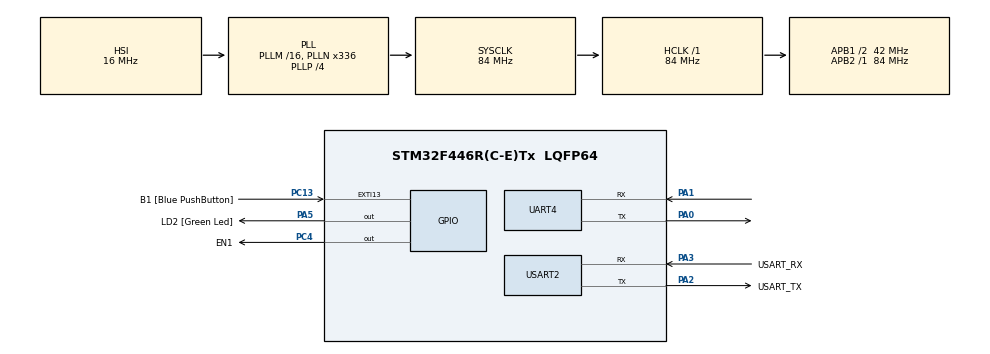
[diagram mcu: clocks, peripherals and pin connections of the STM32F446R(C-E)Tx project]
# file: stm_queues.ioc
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FREERTOS.Queues01=messageQueue,10,int,0,Dynamic,NULL,NULL
FREERTOS.Tasks01=Task2,24,128,StartDefaultTask,Default,NULL,Dynamic,NULL,NULL;Task1,8,128,StartTask02,Default,NULL,Dynamic,NULL,NULL;RxTask,32,512,StartRxTask,Default,NULL,Dynamic,NULL,NULL
FREERTOS.configUSE_NEWLIB_REENTRANT=1
Mcu.Family=STM32F4
Mcu.Name=STM32F446R(C-E)Tx
Mcu.Package=LQFP64
NVIC.PriorityGroup=NVIC_PRIORITYGROUP_4
NVIC.TIM6_DAC_IRQn=true\:15\:0\:false\:false\:true\:false\:false\:true\:true
NVIC.TimeBase=TIM6_DAC_IRQn
NVIC.TimeBaseIP=TIM6
PA0-WKUP.Mode=Asynchronous
PA0-WKUP.Signal=UART4_TX
PA1.Mode=Asynchronous
PA1.Signal=UART4_RX
PA13.GPIO_Label=TMS
PA13.Mode=Serial_Wire
PA13.Signal=SYS_JTMS-SWDIO
PA14.GPIO_Label=TCK
PA14.Mode=Serial_Wire
PA14.Signal=SYS_JTCK-SWCLK
PA2.GPIO_Label=USART_TX
PA2.Mode=Asynchronous
PA2.Signal=USART2_TX
PA3.GPIO_Label=USART_RX
PA3.Mode=Asynchronous
PA3.Signal=USART2_RX
PA5.GPIO_Label=LD2 [Green Led]
PA5.Signal=GPIO_Output
PB3.GPIO_Label=SWO
PB3.Signal=SYS_JTDO-SWO
PC13.GPIO_Label=B1 [Blue PushButton]
PC13.GPIO_ModeDefaultEXTI=GPIO_MODE_IT_FALLING
PC13.Signal=GPXTI13
PC14-OSC32_IN.Mode=LSE-External-Oscillator
PC14-OSC32_IN.Signal=RCC_OSC32_IN
PC15-OSC32_OUT.Mode=LSE-External-Oscillator
PC15-OSC32_OUT.Signal=RCC_OSC32_OUT
PC4.GPIO_Label=EN1
PC4.Signal=GPIO_Output
PH0-OSC_IN.Mode=HSE-External-Oscillator
PH0-OSC_IN.Signal=RCC_OSC_IN
PH1-OSC_OUT.Mode=HSE-External-Oscillator
PH1-OSC_OUT.Signal=RCC_OSC_OUT
ProjectManager.HeapSize=0x200
ProjectManager.StackSize=0x400
ProjectManager.TargetToolchain=STM32CubeIDE
RCC.48MHZClocksFreq_Value=84000000
RCC.AHBFreq_Value=84000000
RCC.APB1CLKDivider=RCC_HCLK_DIV2
RCC.APB1Freq_Value=42000000
RCC.APB1TimFreq_Value=84000000
RCC.APB2Freq_Value=84000000
RCC.APB2TimFreq_Value=84000000
RCC.CortexFreq_Value=84000000
RCC.FLatency-AdvancedSettings=FLASH_LATENCY_2
RCC.HCLKFreq_Value=84000000
RCC.HSE_VALUE=8000000
RCC.HSI_VALUE=16000000
RCC.PLLN=336
RCC.PLLP=RCC_PLLP_DIV4
RCC.SYSCLKFreq_VALUE=84000000
RCC.SYSCLKSource=RCC_SYSCLKSOURCE_PLLCLK
RCC.USBFreq_Value=168000000
RCC.VCOOutputFreq_Value=336000000
UART4.VirtualMode=Asynchronous
USART2.VirtualMode=VM_ASYNC
VP_FREERTOS_VS_CMSIS_V2.Mode=CMSIS_V2
VP_SYS_VS_tim6.Mode=TIM6
board=NUCLEO-F446RE

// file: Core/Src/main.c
/* USER CODE BEGIN Header */
/**
  ******************************************************************************
  * @file           : main.c
  * @brief          : Main program body
  ******************************************************************************
  * @attention
  *
  * Copyright (c) 2026 STMicroelectronics.
  * All rights reserved.
  *
  * This software is licensed under terms that can be found in the LICENSE file
  * in the root directory of this software component.
  * If no LICENSE file comes with this software, it is provided AS-IS.
  *
  ******************************************************************************
  */
/* USER CODE END Header */
#include "main.h"
#include "cmsis_os.h"

UART_HandleTypeDef huart4;
UART_HandleTypeDef huart2;

/* Definitions for Task2 */
osThreadId_t Task2Handle;
const osThreadAttr_t Task2_attributes = {
  .name = "Task2",
  .stack_size = 128 * 4,
  .priority = (osPriority_t) osPriorityNormal,
};
/* Definitions for Task1 */
osThreadId_t Task1Handle;
const osThreadAttr_t Task1_attributes = {
  .name = "Task1",
  .stack_size = 128 * 4,
  .priority = (osPriority_t) osPriorityLow,
};
/* Definitions for RxTask */
osThreadId_t RxTaskHandle;
const osThreadAttr_t RxTask_attributes = {
  .name = "RxTask",
  .stack_size = 512 * 4,
  .priority = (osPriority_t) osPriorityAboveNormal,
};
/* Definitions for messageQueue */
osMessageQueueId_t messageQueueHandle;
const osMessageQueueAttr_t messageQueue_attributes = {
  .name = "messageQueue"
};

void SystemClock_Config(void);
static void MX_GPIO_Init(void);
static void MX_USART2_UART_Init(void);
static void MX_UART4_Init(void);
void StartDefaultTask(void *argument);
void StartTask02(void *argument);
void StartRxTask(void *argument);

/* USER CODE BEGIN 0 */
 typedef struct {
	 uint8_t event_id;
	 uint32_t timestamp;
 } messageQueue_t;

 int __io_putchar(int ch)
 {
	 uint8_t c = ch;
	 HAL_UART_Transmit(&huart4, &c, 1, HAL_MAX_DELAY);
 }
/* USER CODE END 0 */

int main(void)
{

  /* MCU Configuration--------------------------------------------------------*/

  /* Reset of all peripherals, Initializes the Flash interface and the Systick. */
  HAL_Init();

  /* Configure the system clock */
  SystemClock_Config();

  /* Initialize all configured peripherals */
  MX_GPIO_Init();
  MX_USART2_UART_Init();
  MX_UART4_Init();

  /* Init scheduler */
  osKernelInitialize();

  /* Create the queue(s) */
  /* creation of messageQueue */
  messageQueueHandle = osMessageQueueNew (10, sizeof(messageQueue_t), &messageQueue_attributes);

  /* Create the thread(s) */
  /* creation of Task2 */
  Task2Handle = osThreadNew(StartDefaultTask, NULL, &Task2_attributes);

  /* creation of Task1 */
  Task1Handle = osThreadNew(StartTask02, NULL, &Task1_attributes);

  /* creation of RxTask */
  RxTaskHandle = osThreadNew(StartRxTask, NULL, &RxTask_attributes);

  /* Start scheduler */
  osKernelStart();

  /* We should never get here as control is now taken by the scheduler */

  /* Infinite loop */
  while (1)
  {

  }
}

void SystemClock_Config(void)
{
  RCC_OscInitTypeDef RCC_OscInitStruct = {0};
  RCC_ClkInitTypeDef RCC_ClkInitStruct = {0};

  /** Configure the main internal regulator output voltage
  */
  __HAL_RCC_PWR_CLK_ENABLE();
  __HAL_PWR_VOLTAGESCALING_CONFIG(PWR_REGULATOR_VOLTAGE_SCALE3);

  /** Initializes the RCC Oscillators according to the specified parameters
  * in the RCC_OscInitTypeDef structure.
  */
  RCC_OscInitStruct.OscillatorType = RCC_OSCILLATORTYPE_HSI;
  RCC_OscInitStruct.HSIState = RCC_HSI_ON;
  RCC_OscInitStruct.HSICalibrationValue = RCC_HSICALIBRATION_DEFAULT;
  RCC_OscInitStruct.PLL.PLLState = RCC_PLL_ON;
  RCC_OscInitStruct.PLL.PLLSource = RCC_PLLSOURCE_HSI;
  RCC_OscInitStruct.PLL.PLLM = 16;
  RCC_OscInitStruct.PLL.PLLN = 336;
  RCC_OscInitStruct.PLL.PLLP = RCC_PLLP_DIV4;
  RCC_OscInitStruct.PLL.PLLQ = 2;
  RCC_OscInitStruct.PLL.PLLR = 2;
  if (HAL_RCC_OscConfig(&RCC_OscInitStruct) != HAL_OK)
  {
    Error_Handler();
  }

  /** Initializes the CPU, AHB and APB buses clocks
  */
  RCC_ClkInitStruct.ClockType = RCC_CLOCKTYPE_HCLK|RCC_CLOCKTYPE_SYSCLK
                              |RCC_CLOCKTYPE_PCLK1|RCC_CLOCKTYPE_PCLK2;
  RCC_ClkInitStruct.SYSCLKSource = RCC_SYSCLKSOURCE_PLLCLK;
  RCC_ClkInitStruct.AHBCLKDivider = RCC_SYSCLK_DIV1;
  RCC_ClkInitStruct.APB1CLKDivider = RCC_HCLK_DIV2;
  RCC_ClkInitStruct.APB2CLKDivider = RCC_HCLK_DIV1;

  if (HAL_RCC_ClockConfig(&RCC_ClkInitStruct, FLASH_LATENCY_2) != HAL_OK)
  {
    Error_Handler();
  }
}

static void MX_UART4_Init(void)
{

  huart4.Instance = UART4;
  huart4.Init.BaudRate = 115200;
  huart4.Init.WordLength = UART_WORDLENGTH_8B;
  huart4.Init.StopBits = UART_STOPBITS_1;
  huart4.Init.Parity = UART_PARITY_NONE;
  huart4.Init.Mode = UART_MODE_TX_RX;
  huart4.Init.HwFlowCtl = UART_HWCONTROL_NONE;
  huart4.Init.OverSampling = UART_OVERSAMPLING_16;
  if (HAL_UART_Init(&huart4) != HAL_OK)
  {
    Error_Handler();
  }

}

static void MX_USART2_UART_Init(void)
{

  huart2.Instance = USART2;
  huart2.Init.BaudRate = 115200;
  huart2.Init.WordLength = UART_WORDLENGTH_8B;
  huart2.Init.StopBits = UART_STOPBITS_1;
  huart2.Init.Parity = UART_PARITY_NONE;
  huart2.Init.Mode = UART_MODE_TX_RX;
  huart2.Init.HwFlowCtl = UART_HWCONTROL_NONE;
  huart2.Init.OverSampling = UART_OVERSAMPLING_16;
  if (HAL_UART_Init(&huart2) != HAL_OK)
  {
    Error_Handler();
  }

}

static void MX_GPIO_Init(void)
{
  GPIO_InitTypeDef GPIO_InitStruct = {0};

  /* GPIO Ports Clock Enable */
  __HAL_RCC_GPIOC_CLK_ENABLE();
  __HAL_RCC_GPIOH_CLK_ENABLE();
  __HAL_RCC_GPIOA_CLK_ENABLE();
  __HAL_RCC_GPIOB_CLK_ENABLE();

  /*Configure GPIO pin Output Level */
  HAL_GPIO_WritePin(LD2_GPIO_Port, LD2_Pin, GPIO_PIN_RESET);

  /*Configure GPIO pin Output Level */
  HAL_GPIO_WritePin(EN1_GPIO_Port, EN1_Pin, GPIO_PIN_RESET);

  /*Configure GPIO pin : B1_Pin */
  GPIO_InitStruct.Pin = B1_Pin;
  GPIO_InitStruct.Mode = GPIO_MODE_IT_FALLING;
  GPIO_InitStruct.Pull = GPIO_NOPULL;
  HAL_GPIO_Init(B1_GPIO_Port, &GPIO_InitStruct);

  /*Configure GPIO pin : LD2_Pin */
  GPIO_InitStruct.Pin = LD2_Pin;
  GPIO_InitStruct.Mode = GPIO_MODE_OUTPUT_PP;
  GPIO_InitStruct.Pull = GPIO_NOPULL;
  GPIO_InitStruct.Speed = GPIO_SPEED_FREQ_LOW;
  HAL_GPIO_Init(LD2_GPIO_Port, &GPIO_InitStruct);

  /*Configure GPIO pin : EN1_Pin */
  GPIO_InitStruct.Pin = EN1_Pin;
  GPIO_InitStruct.Mode = GPIO_MODE_OUTPUT_PP;
  GPIO_InitStruct.Pull = GPIO_NOPULL;
  GPIO_InitStruct.Speed = GPIO_SPEED_FREQ_LOW;
  HAL_GPIO_Init(EN1_GPIO_Port, &GPIO_InitStruct);

}

void StartDefaultTask(void *argument)
{
  /* USER CODE BEGIN 5 */
  /* Infinite loop */
  for(;;)
  {
	if(HAL_GPIO_ReadPin(GPIOC, GPIO_PIN_7) == 0)
	{
		msg.event_id = 2;
		msg.timestamp = HAL_GetTick()/1000;
		osMessageQueuePut(messageQueueHandle, &msg, 0, 0);
		osDelay(1000);
	}
	osDelay(20);
  }
  /* USER CODE END 5 */
}

void StartTask02(void *argument)
{
  /* USER CODE BEGIN StartTask02 */
	messageQueue_t msg;
  /* Infinite loop */
  for(;;)
  {
    if(HAL_GPIO_ReadPin(GPIOC, GPIO_PIN_7) == 0)
    {
    	msg.event_id = 1;
    	msg.timestamp = HAL_GetTick();
    	osMessageQueuePut(messageQueueHandle, &msg, 0, 0);
    	osDelay(200);
    }
    osDelay(20);
  }
  /* USER CODE END StartTask02 */
}

void StartRxTask(void *argument)
{
  for(;;)
  {
    osDelay(1);
  }
}

void HAL_TIM_PeriodElapsedCallback(TIM_HandleTypeDef *htim)
{
  if (htim->Instance == TIM6)
  {
    HAL_IncTick();
  }
}

void Error_Handler(void)
{
  __disable_irq();
  while (1)
  {
  }
}
